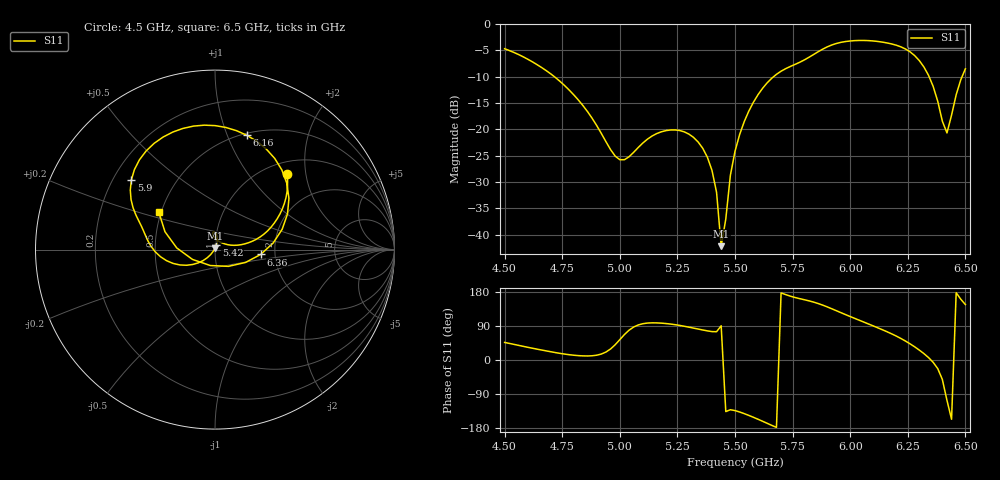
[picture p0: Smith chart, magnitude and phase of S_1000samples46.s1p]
! TOUCHSTONE file generated by CST MICROWAVE STUDIO
! Date and time: Wed Oct 26 19:39:47 2022
! Project name: L.cst
! Parameters = {Di=1.27; Epsilon_r=1.56; InnerDiameter=1.27; Length=2; Lf=10; Lg=60; OuterConductorThickness=0.2921; OuterDiameter=3.6; Wf=3; Wp=41.2; de=1.5; df=6.8; g=0.8; gx=1.32645; gy=1.43918; h=2.34; hf=1.524; px=12.3661; py=11.1995; w=9.7; wx=11.0396; wy=9.76028}
! Header version: 2018
! Port assignment regex: !\s*Touchstone port\s*([0-9]+)\s*=\s*(CST MWS port|CST DS port)\s*([0-9]+|Zmin|Zmax)\s*\(\"(.*)\"\)(\s*mode\s*([0-9]+))?.*
! Touchstone port assignment:
! Touchstone port 1 = CST MWS port 1 ("")
# GHz S DB R 50
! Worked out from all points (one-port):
!   101 points, 4.5 GHz to 6.5 GHz, reference 50 ohm
!   lowest |S11| = -42.2 dB at 5.44 GHz (marker M1), VSWR 1.02, Z = 50 + j0.778 ohm
!   |S11| at or under -10 dB: 4.716 GHz to 5.667 GHz (951.4 MHz wide, 18.3 % of centre); 6.342 GHz to 6.486 GHz (143 MHz wide, 2.23 % of centre)
!   S11 on the Smith chart (normalised r, x): 4.5 GHz: 1.23, +1.58; 5.42 GHz: 1.01, +0.05; 5.9 GHz: 0.27, +0.34; 6.16 GHz: 0.52, +1.18; 6.36 GHz: 1.68, -0.10; 6.5 GHz: 0.49, +0.24
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4.5  -4.69 46.3
4.62  -7.16 31.2
4.76  -11.66 15.7
4.86  -16.64 10.7
5  -25.76 53.7
5.16  -20.80 97.9
5.26  -20.22 91.2
5.36  -23.60 79.2
5.4  -27.77 74.9
5.42  -31.96 74.7
5.44  -42.18 90.3
5.46  -37.04 -136.1
5.48  -28.71 -131.2
5.5  -24.17 -133.5
5.54  -18.54 -141.5
5.6  -13.41 -156.4
5.68  -9.55 -177.9
5.76  -7.68 165.0
5.9  -4.34 140.2
6  -3.22 114.7
6.08  -3.15 94.9
6.16  -3.59 74.5
6.26  -5.29 42.6
6.3  -6.94 26.1
6.36  -11.83 -6.0
6.42  -20.68 -106.4
6.46  -13.43 177.6
6.5  -8.49 146.3
